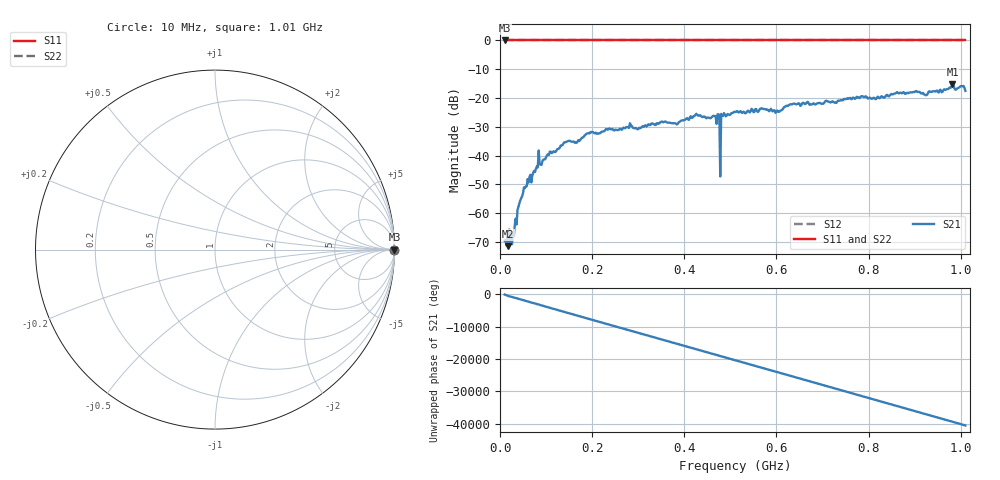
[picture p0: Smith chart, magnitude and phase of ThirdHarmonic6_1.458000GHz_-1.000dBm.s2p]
! 8/16/2025 4:56:33 PM
! C:\ANRITSUVNA\TEMP\TEMP.S2P
! CHANNEL.1
! TR.MEASUREMENT
! RAW.DATA
! RF.CORRECTION.OFF
! AVERAGING.OFF
! IF.BANDWIDTH: 5KHZ
! SWEEPTYPE:  FREQ.SWEEP(Linear)
! Reference Plane Port Info
! PORT:  PORT1  PORT2
! DISTANCE:  0  m  0  m
! TIME:  0  s  0  s
! PHASE.OFFSET:  0  deg.  0  deg.
! LOSS:  0  dB  0  dB
! REF.LOSS:  0  dB  0  dB
! REF.FREQ:  0  Hz  0  Hz
! Power Info
! POWER:  -20  dBm  -20  dBm
! EFF.POWER:  -20  dBm  -20  dBm
! SOURCE.ATTEN:  0  dB  0  dB
! TEST.ATTEN:  0  dB  0  dB
# GHZ S RI R 50.0
! FREQ.GHZ  S11RE  S11IM  S21RE  S21IM  S12RE  S12IM  S22RE  S22IM
!; PortSelection: Port_12
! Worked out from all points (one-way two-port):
!   501 points, 10 MHz to 1.01 GHz, reference 50 ohm
!   highest |S21| = -15.08 dB at 982 MHz (marker M1); lowest = -71.5 dB at 18 MHz (marker M2)
!   lowest |S11| = 0.0 dB at 10 MHz (marker M3)
!   |S11| at or under -10 dB: nowhere
!   |S22| runs from 0.0 to 0.0 dB; largest |S21 - S12| = 1.2
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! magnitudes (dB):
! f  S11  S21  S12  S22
! 10 MHz  0.0  -69.5  0.0  0.0
! 18 MHz  0.0  -71.5  0.0  0.0
! 26 MHz  0.0  -70.8  0.0  0.0
! 42 MHz  0.0  -56.6  0.0  0.0
! 50 MHz  0.0  -53.0  0.0  0.0
! 82 MHz  0.0  -44.1  0.0  0.0
! 142 MHz  0.0  -35.4  0.0  0.0
! 178 MHz  0.0  -33.8  0.0  0.0
! 344 MHz  0.0  -29.0  0.0  0.0
! 464 MHz  0.0  -26.2  0.0  0.0
! 472 MHz  0.0  -25.7  0.0  0.0
! 474 MHz  0.0  -25.6  0.0  0.0
! 482 MHz  0.0  -26.2  0.0  0.0
! 484 MHz  0.0  -26.3  0.0  0.0
! 510 MHz  0.0  -24.9  0.0  0.0
! 602 MHz  0.0  -24.4  0.0  0.0
! 634 MHz  0.0  -22.2  0.0  0.0
! 678 MHz  0.0  -22.2  0.0  0.0
! 844 MHz  0.0  -19.5  0.0  0.0
! 924 MHz  0.0  -19.0  0.0  0.0
! 982 MHz  0.0  -15.1  0.0  0.0
! 1.01 GHz  0.0  -17.5  0.0  0.0
